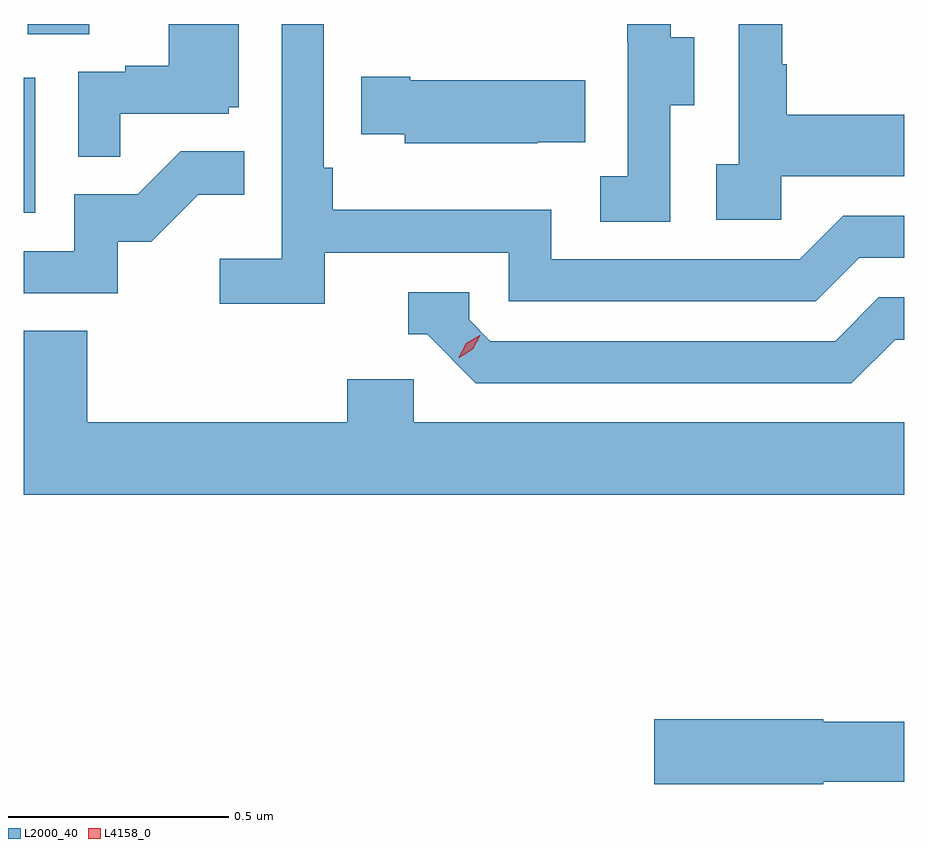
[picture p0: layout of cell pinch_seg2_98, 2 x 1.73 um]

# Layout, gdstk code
import gdstk
lib = gdstk.Library(unit=1e-6, precision=1e-09)
def R(c, l, rs):  # rectangles x0, y0, x1, y1
    for r in rs: c.add(gdstk.rectangle(r[:2], r[2:], *l))
def P(c, l, *ps):  # polygons
    for p in ps: c.add(gdstk.Polygon(p, *l))
L2000_40 = (2000, 40)
L4158_0 = (4158, 0)

pinch_seg2_98 = lib.new_cell('pinch_seg2_98')
R(pinch_seg2_98, L2000_40, [(1040.804,640.284,1040.83,640.591), (1040.813,640.69,1040.953,640.713)])
P(pinch_seg2_98, L2000_40, [(1041.488,640.194),(1041.906,640.194),(1041.906,640.083),(1042.603,640.083),(1042.702,640.182),(1042.804,640.182),(1042.804,640.278),(1042.665,640.278),(1042.566,640.179),(1042.002,640.179),(1042.002,640.291),(1041.506,640.291),(1041.506,640.387),(1041.486,640.387),(1041.486,640.713),(1041.39,640.713),(1041.39,640.18),(1041.249,640.18),(1041.249,640.078),(1041.488,640.078)],
  [(1042.524,640.367),(1042.804,640.367),(1042.804,640.507),(1042.537,640.507),(1042.537,640.622),(1042.527,640.622),(1042.527,640.713),(1042.428,640.713),(1042.428,640.394),(1042.377,640.394),(1042.377,640.269),(1042.524,640.269)],
  [(1042.272,640.528),(1042.327,640.528),(1042.327,640.683),(1042.273,640.683),(1042.273,640.713),(1042.175,640.713),(1042.175,640.671),(1042.176,640.671),(1042.176,640.367),(1042.113,640.367),(1042.113,640.264),(1042.272,640.264)],
  [(1041.023,640.509),(1041.27,640.509),(1041.27,640.524),(1041.292,640.524),(1041.292,640.713),(1041.134,640.713),(1041.134,640.618),(1041.035,640.618),(1041.035,640.605),(1040.928,640.605),(1040.928,640.411),(1041.023,640.411)],
  [(1041.971,640.445),(1042.079,640.445),(1042.079,640.585),(1041.682,640.585),(1041.682,640.593),(1041.571,640.593),(1041.571,640.463),(1041.669,640.463),(1041.669,640.442),(1041.971,640.442)],
  [(1041.018,640.218),(1041.094,640.218),(1041.201,640.325),(1041.305,640.325),(1041.305,640.424),(1041.161,640.424),(1041.063,640.326),(1040.919,640.326),(1040.919,640.197),(1040.804,640.197),(1040.804,640.101),(1041.018,640.101)],
  [(1042.783,639.996),(1042.804,639.996),(1042.804,640.092),(1042.746,640.092),(1042.647,639.993),(1041.864,639.993),(1041.816,640.041),(1041.816,640.104),(1041.677,640.104),(1041.677,640.008),(1041.72,640.008),(1041.831,639.897),(1042.684,639.897)],
  [(1042.804,639.808),(1041.69,639.808),(1041.69,639.906),(1041.539,639.906),(1041.539,639.808),(1040.948,639.808),(1040.948,640.016),(1040.804,640.016),(1040.804,639.644),(1042.804,639.644)],
  [(1042.62,638.992),(1042.804,638.992),(1042.804,639.128),(1042.62,639.128),(1042.62,639.134),(1042.236,639.134),(1042.236,638.987),(1042.62,638.987)])
P(pinch_seg2_98, L4158_0, [(1041.792,639.955),(1041.792,639.956),(1041.809,639.988),(1041.84,640.006),(1041.841,640.006),(1041.841,640.006),(1041.824,639.974),(1041.793,639.955)])

lib.write_gds('pinch_seg2_98.gds')
